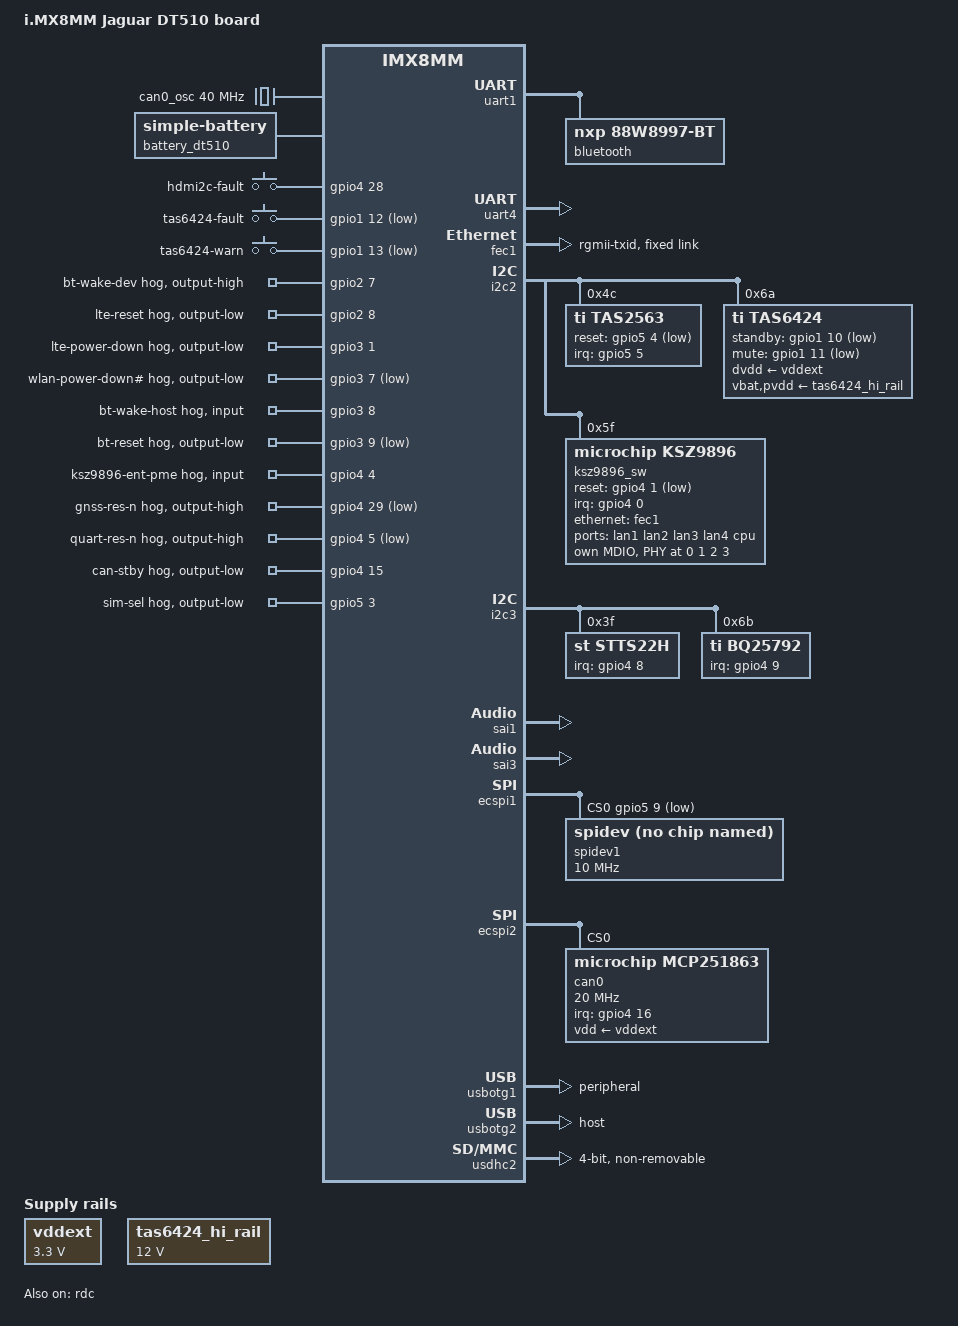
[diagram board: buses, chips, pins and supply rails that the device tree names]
// SPDX-License-Identifier: (GPL-2.0 OR MIT)
/*
 * Copyright 2020 NXP
 */
/*
 * i.MX8MM Jaguar DT510 — canonical device tree source (Tier A2).
 *
 * recipes-kernel/linux/linux-lmp-fslc-imx/imx8mm-jaguar-dt510.dts is a symlink to this file (Tier A1).
 *
 * Hardware SSOT: VIX DT510 pinout / hardware spec (Google Doc — revise on schematic proof).
 * Bring-up plan & tiers: docs/DT510-BSP-PROJECT-PLAN.md
 *
 * Board highlights (this file vs EVK):
 *   PMIC: inherited PCA9450 on &i2c1 @ 0x25 (imx8mm-evkb.dts).
 *   Cellular: USB OTG2 host; LTE_RST (GPIO2_IO8), LTE_OFF / power-down (GPIO3_IO1), SIM_SEL (GPIO5_IO3: low=nano, high=eSIM) via GPIO hogs + hoggrp mux.
 *   WLAN/BT: IW612-class SDIO on USDHC2 + UART1 Bluetooth sideband; WLAN/BT wake and reset lines hogged.
 *   Ethernet: i.MX FEC → Microchip KSZ9896 DSA (RGMII + I2C management on &i2c2 @ 0x5f); four LAN PHYs inside switch.
 *   Audio: TI TAS6424 (&sai1), TAS2563 (&sai3), TAC5301 analog (&sai6, I2C @0x50 — DTS ready; ASoC driver not in factory kernel yet).
 *            TAS6424 AMP_FAULT#/WARN# on gpio-keys (GPIO1_IO12/13).
 *   Power / sensing: TI BQ25792 charger + ST STTS22H temperature on &i2c3.
 *   Zigbee: ECSPI1 to 802.15.4 module (userspace spidev); ZB_INT / ZB_RST on dedicated pads.
 *   CAN: Microchip MCP251863 on &ecspi2 (UART4 uses different pads — no mux clash); CAN_INT# GPIO4_IO16, CAN_STBY GPIO4_IO15.
 *   GNSS: u-blox NEO-M9V — GNSS_RES# on GPIO4_IO29 (SAI3_RXC mux), active-low reset driven by SoC.
 *   USB UART: Silicon Labs CP2108 quad bridge — USB enumerates with cp210x; QUART_RES# on GPIO4_IO5 (SAI1_RXD3 mux).
 *   HDMI: Lontium LT9611 on &i2c3 @ 0x39 — HDMI_RES#/INT on GPIO2 (pads shared with former WL_WAKE/ZB_RST);
 *          HDMI2C1 fault on GPIO4_IO28 (SAI3_RXFS mux). Bridge node stays disabled until DSI graph + supplies.
 *   Low-power MCU: NXP MCXC144VFM — async serial on UART4 (UART4_RXD/UART4_TXD pads; DT macros UART4_DCE_RX/TX).
 *   Digital I/O: GPIO1_IO00/01/04–09 muxed as GPIO (DI1–4 / DO1–4); IO10–IO13 reserved for TAS6424 (see &tas6424).
 *   SE050 secure element: I2C4 @ 0x48 — handled by U-Boot / OpTEE, not described here.
 *
 * I2C numbering: Linux adapter i2c-N corresponds to DTS &i2c(N+1) on this SoC (e.g. i2c-1 = &i2c2).
 */

#include "freescale/imx8mm-evkb.dts"
#include <dt-bindings/gpio/gpio.h>
#include <dt-bindings/input/input.h>
#include <dt-bindings/interrupt-controller/irq.h>
#include <dt-bindings/clock/imx8mm-clock.h>

/ {
	model = "i.MX8MM Jaguar DT510 board";
	compatible = "fsl,imx8mm-jaguar-dt510", "fsl,imx8mm-evkb", "fsl,imx8mm-evk", "fsl,imx8mm";

	/*
	 * Drop EVK audio composites not wired on DT510 (PMIC/audio/path differs).
	 * NXP imx8mm-evk.dtsi: regulator-audio-board gates via &pca6416; sound-ak5558 / sound-ak4497
	 * reference AK codecs removed under &i2c3 — delete these too or DTC fails on dangling phandles.
	 */
	/delete-node/ sound-micfil;
	/delete-node/ sound-wm8524;
	/delete-node/ sound-ak4458;
	/delete-node/ sound-spdif;
	/delete-node/ sound-bt-sco;
	/delete-node/ regulator-audio-board;
	/delete-node/ sound-ak5558;
	/delete-node/ sound-ak4497;

	/*
	 * Fixed rails for on-board silicon:
	 *   vddext — 3V3 digital / codec DVDD where referenced.
	 *   tas6424_hi_rail — 12V class-D VBATT+PVDD net for TAS6424 (nominal; confirm vs BOM).
	 */
	vddext: regulator-vddext {
		compatible = "regulator-fixed";
		regulator-name = "VDDEXT_3V3";
		regulator-min-microvolt = <3300000>;
		regulator-max-microvolt = <3300000>;
	};

	/*
	 * TAS6424 VBAT/PVDD: driver needs separate supplies; one fixed rail for both here.
	 * 12 V nominal — confirm net names vs BOM. regulator-always-on matches HW (no SW sequencing).
	 */
	tas6424_hi_rail: regulator-tas6424-hi {
		compatible = "regulator-fixed";
		regulator-name = "TAS6424_VBAT_PVDD";
		regulator-min-microvolt = <12000000>;
		regulator-max-microvolt = <12000000>;
		regulator-always-on;
	};

	/*
	 * MCP251863/MCP2518FD crystal — match BOM Hz (typ. 40 MHz); binding requires clocks + spi-max-frequency ≤ clock/2.
	 */
	can0_osc: can0-osc {
		compatible = "fixed-clock";
		#clock-cells = <0>;
		clock-frequency = <40000000>;
	};

	/* Charger IC (BQ25792) battery chemistry model — tune vs actual pack (1S placeholder). */
	battery_dt510: battery-dt510 {
		compatible = "simple-battery";
		constant-charge-voltage-max-microvolt = <4200000>;
		constant-charge-current-max-microamp = <2000000>;
		charge-term-current-microamp = <160000>;
	};

	/*
	 * ALSA device naming:
	 *   tas6424-classd — speaker power stage (TAS6424 on &sai1).
	 *   tas2563-audio — TAS2563 smart amp path on &sai3 (Profile 8 TDM).
	 */
	sound-tas6424 {
		compatible = "simple-audio-card";
		simple-audio-card,name = "tas6424-classd";
		simple-audio-card,format = "i2s";
		simple-audio-card,frame-master = <&tas6424_cpu_dai>;
		simple-audio-card,bitclock-master = <&tas6424_cpu_dai>;
		simple-audio-card,widgets =
			"Speaker", "Speaker";
		simple-audio-card,routing =
			"Speaker", "OUT";

		tas6424_cpu_dai: simple-audio-card,cpu {
			sound-dai = <&sai1>;
		};

		simple-audio-card,codec {
			sound-dai = <&tas6424>;
			clocks = <&clk IMX8MM_CLK_SAI1_ROOT>;
		};
	};

	sound-tas2563 {
		compatible = "simple-audio-card";
		simple-audio-card,name = "tas2563-audio";
		simple-audio-card,format = "i2s";
		simple-audio-card,frame-master = <&cpudai2>;
		simple-audio-card,bitclock-master = <&cpudai2>;

		simple-audio-card,widgets =
			"Speaker", "Speaker";
		simple-audio-card,routing =
			"Speaker", "OUT";

		cpudai2: simple-audio-card,cpu {
			sound-dai = <&sai3>;
			dai-tdm-slot-num = <4>;  /* Profile 8 */
			dai-tdm-slot-width = <32>;
		};

		simple-audio-card,codec {
			sound-dai = <&tas2563>;
			clocks = <&clk IMX8MM_CLK_SAI3_ROOT>;
		};
	};

	/* RDC: UART4 PDAP must be domain 0 (A53) before UART probes (see fsl,rdc-config). */
	rdc: rdc@303d0000 {
		compatible = "fsl,imx8mm-rdc";
		reg = <0x0 0x303d0000 0x0 0x10000>;
		status = "okay";

		fsl,rdc-config = <
			0x44  0x3  /* UART4 PDAP → domain 0 (A53) */
		>;
	};

	/*
	 * HDMI2C1 bridge fault (input) — not the LT9611 I2C IRQ; pad muxed in pinctrl_hdmi.
	 */
	hdmi_misc_keys {
		compatible = "gpio-keys";
		status = "okay";

		hdmi2c_fault {
			label = "hdmi2c-fault";
			gpios = <&gpio4 28 GPIO_ACTIVE_HIGH>;
			linux,code = <KEY_VENDOR>;
		};
	};

	/*
	 * TAS6424 sideband status (pads muxed with pinctrl_tas6424_gpio — codec driver still polls I2C too).
	 * BTN_0 / BTN_1 — arbitrary distinct evtest codes; labels identify nets (AMP_FAULT#, AMP_WARN# active-low).
	 */
	tas6424_amp_keys {
		compatible = "gpio-keys";
		status = "okay";

		tas6424_fault {
			label = "tas6424-fault";
			gpios = <&gpio1 12 GPIO_ACTIVE_LOW>;
			linux,code = <BTN_0>;
		};

		tas6424_warn {
			label = "tas6424-warn";
			gpios = <&gpio1 13 GPIO_ACTIVE_LOW>;
			linux,code = <BTN_1>;
		};
	};

	/* CM4: disabled — avoid resource contention with A53. */
	imx8mm-cm4 {
		compatible = "fsl,imx8mm-cm4";
		status = "disabled";
	};
};

/*
 * Pinmux (&iomuxc)
 *
 * Order matches pinctrl-0: hog GPIOs + BQ25792 charger interrupt, then groups used by drivers.
 *   hoggrp — WLAN/BT/LTE strap lines; TAS2563 reset (CODEC_SD# on GPIO5).
 *   bq25792_chgr_int — CHGR_INT# from charger (muxed GPIO4).
 *   uart1 — UART1 + UART3 pins used as RTS/CTS for Bluetooth (IW8997 sideband).
 *   uart4 — MCXC144VFM MCU serial (RDC domain programmed for A53).
 *   usdhc2 — SDIO to WLAN module (4-bit).
 *   fec1 / ksz9896_sideband — RGMII to KSZ9896; SAI1 pins repurposed as switch PME/INTR/RST GPIOs.
 *   gpio1_dio — general-purpose DIO on GPIO1_IO00/01/04–09 (pad CFG per DT510 pin tool; IO02/03 N.C. on SKU).
 *   tas6424_gpio / sai1_tas6424 — TAS6424 enable/fault GPIOs + I2S to class-D.
 *   sai2 — Not wired for audio on DT510 (pads may overlap Zigbee); pinmux retained for reference.
 *   sai3 — TAS2563 I2S + codec interrupt on GPIO5.
 *   ecspi1 + zigbee — SPI to 802.15.4 module; ZB_INT on GPIO4_IO22 (ZB_RST was GPIO2_IO11 — pad now HDMI_RES#).
 *   ecspi2 + can_gpio — MCP251863 SPI (ECSPI2); SAI1_TXD3/4 → GPIO4_IO15/16 (CAN_STBY / CAN_INT#); &sai1 uses TXD0/1 only.
 *   tac5301 — SAI6 on SAI1_RXD4/RXD5/RXD6 + SAI1_TXD5 pads; SAI1_TXD2 → GPIO4_IO14 codec strap (SAI1 TXD0/1 still &tas6424).
 *   gnss_reset — NEO-M9V GNSS_RES# (GPIO output; pad not used by &sai3 audio mux below).
 *   hdmi — LT9611 HDMI_RES# / HDMI_INT / HDMI2C1 fault (GPIO2_IO11, GPIO2_IO6, GPIO4_IO28).
 *   quart_reset — CP2108 QUART_RES# (GPIO4_IO5, SAI1_RXD3 pad; not in &sai1 TAS6424 pinctrl).
 */
&iomuxc {
	pinctrl-names = "default";
	pinctrl-0 = <&pinctrl_hog>, <&pinctrl_bq25792_chgr_int>, <&pinctrl_gnss_reset>, <&pinctrl_hdmi>, <&pinctrl_quart_reset>, <&pinctrl_gpio1_dio>, <&pinctrl_ecspi2>, <&pinctrl_can_mcp2518_gpio>, <&pinctrl_sai6_tac5301>, <&pinctrl_tac5301_gpio>;

	/*
	 * Boot-time strap pins. GPIO2_IO6 / GPIO2_IO11 are reserved for HDMI (see pinctrl_hdmi); WL_WAKE host wake
	 * and SDIO wifi_wake_host nodes were removed — SDIO WLAN wake-from-sleep via that line is not available.
	 */
	pinctrl_hog: hoggrp {
		fsl,pins = <
			MX8MM_IOMUXC_SD1_DATA5_GPIO2_IO7	0x140  /* BT_WAKE_DEV */
			MX8MM_IOMUXC_SD1_DATA6_GPIO2_IO8	0x140  /* LTE_RST */
			MX8MM_IOMUXC_NAND_CE0_B_GPIO3_IO1	0x140  /* LTE_OFF / FUL_CARD_POWER_OFF# */
			MX8MM_IOMUXC_NAND_DATA01_GPIO3_IO7      0x140  /* WIFI_PD# */
			MX8MM_IOMUXC_NAND_DATA02_GPIO3_IO8	0x140  /* BT_WAKE_HOST */
			MX8MM_IOMUXC_NAND_DATA03_GPIO3_IO9      0x140  /* BT_RST# */
			MX8MM_IOMUXC_SPDIF_RX_GPIO5_IO4         0x140  /* CODEC_SD# (TAS2563 reset strap) */
			MX8MM_IOMUXC_SPDIF_TX_GPIO5_IO3         0x140  /* SIM_SEL: low=nano SIM, high=eSIM */
		>;
	};

	/* TI BQ25792 — CHGR_INT# (active-low alert from charger). */
	pinctrl_bq25792_chgr_int: bq25792_chgr_int_grp {
		fsl,pins = <
			MX8MM_IOMUXC_SAI1_RXD7_GPIO4_IO9	0x140  /* CHGR_INT# */
		>;
	};

	/*
	 * NEO-M9V GNSS — GNSS_RES# → GPIO4_IO29 (mux SAI3_RXC pad as GPIO).
	 * Hog below drives inactive (high) so module is out of reset; pulse low in userspace if needed.
	 */
	pinctrl_gnss_reset: gnssresetgrp {
		fsl,pins = <
			MX8MM_IOMUXC_SAI3_RXC_GPIO4_IO29	0x140
		>;
	};

	/*
	 * Lontium LT9611 + HDMI2C1 sideband (pads also referenced by lt9611@39 when enabled).
	 *   HDMI_RES# — GPIO2_IO11 (active-low reset out); HDMI_INT — GPIO2_IO6 (in, active-high);
	 *   HDMI2C1 fault — GPIO4_IO28 (SAI3_RXFS mux; not used by current &sai3 TAS2563 pin group).
	 */
	pinctrl_hdmi: hdmigrp {
		fsl,pins = <
			MX8MM_IOMUXC_SD1_STROBE_GPIO2_IO11	0x140
			MX8MM_IOMUXC_SD1_DATA4_GPIO2_IO6	0x140
			MX8MM_IOMUXC_SAI3_RXFS_GPIO4_IO28	0x140
		>;
	};

	/*
	 * CP2108 USB–quad-UART — QUART_RES# (active-low) on SAI1_RXD3 → GPIO4_IO5.
	 * Ports enumerate as /dev/ttyUSB* via usbserial once USB attaches (OTG host port).
	 */
	pinctrl_quart_reset: quartresetgrp {
		fsl,pins = <
			MX8MM_IOMUXC_SAI1_RXD3_GPIO4_IO5	0x140
		>;
	};

	/*
	 * General-purpose digital I/O — GPIO1_IO00/01/04–09 as GPIO (imx8mm-pinfunc.h uses …_GPIO1_IO0 …_GPIO1_IO9).
	 * Mapping vs connector: DI1–4 → IO00/01/04/05; DO1–4 → IO06–09. IO02/03 not bonded here; IO10–IO13 = &tas6424.
	 * Direction is runtime via gpiochip/libgpiod; pad configs match docs/reference/dt510-ollie-tool-generated/pin_mux.dts.
	 */
	pinctrl_gpio1_dio: gpio1diogrp {
		fsl,pins = <
			MX8MM_IOMUXC_GPIO1_IO00_GPIO1_IO0	0x114
			MX8MM_IOMUXC_GPIO1_IO01_GPIO1_IO1	0x116
			MX8MM_IOMUXC_GPIO1_IO04_GPIO1_IO4	0x116
			MX8MM_IOMUXC_GPIO1_IO05_GPIO1_IO5	0x156
			MX8MM_IOMUXC_GPIO1_IO06_GPIO1_IO6	0x116
			MX8MM_IOMUXC_GPIO1_IO07_GPIO1_IO7	0x1916
			MX8MM_IOMUXC_GPIO1_IO08_GPIO1_IO8	0x116
			MX8MM_IOMUXC_GPIO1_IO09_GPIO1_IO9	0x116
		>;
	};

	/* Bluetooth (NXP IW8997): UART1 data + UART3 pins as HCI RTS/CTS. */
	pinctrl_uart1: uart1grp {
		fsl,pins = <
			MX8MM_IOMUXC_UART1_RXD_UART1_DCE_RX     0x140
			MX8MM_IOMUXC_UART1_TXD_UART1_DCE_TX     0x140
			MX8MM_IOMUXC_UART3_TXD_UART1_DCE_RTS_B  0x140
			MX8MM_IOMUXC_UART3_RXD_UART1_DCE_CTS_B  0x140
		>;
	};

	/*
	 * UART4 — MCXC144VFM link (or lab UART): same RX/TX balls as UART4_RX/UART4_TX; NXP macros use DCE naming.
	 */
	pinctrl_uart4: uart4grp {
		fsl,pins = <
			MX8MM_IOMUXC_UART4_RXD_UART4_DCE_RX     0x140
			MX8MM_IOMUXC_UART4_TXD_UART4_DCE_TX     0x140
		>;
	};

	/* USDHC2 — Wi-Fi module SDIO (IW612 class / MAYA-W2 family). */
	pinctrl_usdhc2: usdhc2grp {
		fsl,pins = <
			MX8MM_IOMUXC_SD2_CLK_USDHC2_CLK         0x190
			MX8MM_IOMUXC_SD2_CMD_USDHC2_CMD         0x1d0
			MX8MM_IOMUXC_SD2_DATA0_USDHC2_DATA0     0x1d0
			MX8MM_IOMUXC_SD2_DATA1_USDHC2_DATA1     0x1d0
			MX8MM_IOMUXC_SD2_DATA2_USDHC2_DATA2     0x1d0
			MX8MM_IOMUXC_SD2_DATA3_USDHC2_DATA3     0x1d0
		>;
	};

	pinctrl_usdhc2_100mhz: usdhc2-100mhzgrp {
		fsl,pins = <
			MX8MM_IOMUXC_SD2_CLK_USDHC2_CLK         0x194
			MX8MM_IOMUXC_SD2_CMD_USDHC2_CMD         0x1d4
			MX8MM_IOMUXC_SD2_DATA0_USDHC2_DATA0     0x1d4
			MX8MM_IOMUXC_SD2_DATA1_USDHC2_DATA1     0x1d4
			MX8MM_IOMUXC_SD2_DATA2_USDHC2_DATA2     0x1d4
			MX8MM_IOMUXC_SD2_DATA3_USDHC2_DATA3     0x1d4
		>;
	};

	pinctrl_usdhc2_200mhz: usdhc2-200mhzgrp {
		fsl,pins = <
			MX8MM_IOMUXC_SD2_CLK_USDHC2_CLK         0x196
			MX8MM_IOMUXC_SD2_CMD_USDHC2_CMD         0x1d6
			MX8MM_IOMUXC_SD2_DATA0_USDHC2_DATA0     0x1d6
			MX8MM_IOMUXC_SD2_DATA1_USDHC2_DATA1     0x1d6
			MX8MM_IOMUXC_SD2_DATA2_USDHC2_DATA2     0x1d6
			MX8MM_IOMUXC_SD2_DATA3_USDHC2_DATA3     0x1d6
		>;
	};

	/* ENET1 — RGMII from SoC to KSZ9896 CPU port. */
	pinctrl_fec1_dt510: fec1dt510grp {
		fsl,pins = <
			MX8MM_IOMUXC_ENET_MDC_ENET1_MDC			0x116
			MX8MM_IOMUXC_ENET_MDIO_ENET1_MDIO		0x116
			MX8MM_IOMUXC_ENET_RD0_ENET1_RGMII_RD0		0x116
			MX8MM_IOMUXC_ENET_RD1_ENET1_RGMII_RD1		0x116
			MX8MM_IOMUXC_ENET_RD2_ENET1_RGMII_RD2		0x116
			MX8MM_IOMUXC_ENET_RD3_ENET1_RGMII_RD3		0x116
			MX8MM_IOMUXC_ENET_RXC_ENET1_RGMII_RXC		0x116
			MX8MM_IOMUXC_ENET_RX_CTL_ENET1_RGMII_RX_CTL	0x116
			MX8MM_IOMUXC_ENET_TD0_ENET1_RGMII_TD0		0x116
			MX8MM_IOMUXC_ENET_TD1_ENET1_RGMII_TD1		0x116
			MX8MM_IOMUXC_ENET_TD2_ENET1_RGMII_TD2		0x116
			MX8MM_IOMUXC_ENET_TD3_ENET1_RGMII_TD3		0x116
			MX8MM_IOMUXC_ENET_TXC_ENET1_RGMII_TXC		0x116
			MX8MM_IOMUXC_ENET_TX_CTL_ENET1_RGMII_TX_CTL	0x1916
		>;
	};

	/* KSZ9896 — INT#, RST#, PME# when muxed on SAI1 pads (see gpio4 / switch node). */
	pinctrl_ksz9896_sideband: ksz9896sidebandgrp {
		fsl,pins = <
			MX8MM_IOMUXC_SAI1_RXFS_GPIO4_IO0	0x116
			MX8MM_IOMUXC_SAI1_RXC_GPIO4_IO1	0x116
			MX8MM_IOMUXC_SAI1_RXD2_GPIO4_IO4	0x116
		>;
	};

	/* TAS6424 — AMP_STBY#, AMP_MUTE#, FAULT, WARN (GPIO1 sideband). */
	pinctrl_tas6424_gpio: tas6424gpiogrp {
		fsl,pins = <
			MX8MM_IOMUXC_GPIO1_IO10_GPIO1_IO10	0x116
			MX8MM_IOMUXC_GPIO1_IO11_GPIO1_IO11	0x116
			MX8MM_IOMUXC_GPIO1_IO12_GPIO1_IO12	0x116
			MX8MM_IOMUXC_GPIO1_IO13_GPIO1_IO13	0x116
		>;
	};

	/* TAS6424 — I2S master from SoC (SAI1). */
	pinctrl_sai1_tas6424: sai1tas6424grp {
		fsl,pins = <
			MX8MM_IOMUXC_SAI1_MCLK_SAI1_MCLK		0x116
			MX8MM_IOMUXC_SAI1_TXFS_SAI1_TX_SYNC		0x1916
			MX8MM_IOMUXC_SAI1_TXC_SAI1_TX_BCLK		0x116
			MX8MM_IOMUXC_SAI1_TXD0_SAI1_TX_DATA0	0x116
			MX8MM_IOMUXC_SAI1_TXD1_SAI1_TX_DATA1	0x116
		>;
	};

	/* Not used by &sai2 on DT510; kept for alignment with EVK-style SAI2 pin bundle if enabled later. */
	pinctrl_sai2: sai2grp {
		fsl,pins = <
			MX8MM_IOMUXC_SAI2_MCLK_SAI2_MCLK        0xd6
			MX8MM_IOMUXC_SAI2_TXFS_SAI2_TX_SYNC     0xd6
			MX8MM_IOMUXC_SAI2_TXC_SAI2_TX_BCLK      0xd6
			MX8MM_IOMUXC_SAI2_TXD0_SAI2_TX_DATA0    0xd6
			MX8MM_IOMUXC_SAI2_RXD0_SAI2_RX_DATA0    0xd6
		>;
	};

	/* TAS2563 — I2S + GPIO5 interrupt; SPDIF_EXT_CLK pad used as codec IRQ line. */
	pinctrl_sai3: sai3grp {
		fsl,pins = <
			MX8MM_IOMUXC_SAI3_TXFS_SAI3_TX_SYNC     0xd6
			MX8MM_IOMUXC_SAI3_TXC_SAI3_TX_BCLK      0xd6
			MX8MM_IOMUXC_SAI3_MCLK_SAI3_MCLK        0xd6
			MX8MM_IOMUXC_SAI3_TXD_SAI3_TX_DATA0     0xd6
			MX8MM_IOMUXC_SAI3_RXD_SAI3_RX_DATA0     0xd6
			MX8MM_IOMUXC_SPDIF_EXT_CLK_GPIO5_IO5    0xd6
		>;
	};

	/* ECSPI1 — SPI clock/data to Zigbee module; CS on GPIO5_IO9. */
	pinctrl_ecspi1: ecspi1grp {
		fsl,pins = <
			MX8MM_IOMUXC_ECSPI1_SS0_GPIO5_IO9	0x140
			MX8MM_IOMUXC_ECSPI1_SCLK_ECSPI1_SCLK	0x140
			MX8MM_IOMUXC_ECSPI1_MISO_ECSPI1_MISO	0x140
			MX8MM_IOMUXC_ECSPI1_MOSI_ECSPI1_MOSI	0x140
		>;
	};

	/* Zigbee — ZB_INT on GPIO4_IO22 only (GPIO2_IO11 remapped to HDMI_RES#). */
	pinctrl_zigbee: zigbeegrp {
		fsl,pins = <
			MX8MM_IOMUXC_SAI2_RXC_GPIO4_IO22        0x140
		>;
	};

	/* ECSPI2 — Microchip MCP251863 CAN controller (chip select SS0). */
	pinctrl_ecspi2: ecspi2grp {
		fsl,pins = <
			MX8MM_IOMUXC_ECSPI2_SCLK_ECSPI2_SCLK	0x140
			MX8MM_IOMUXC_ECSPI2_MISO_ECSPI2_MISO	0x140
			MX8MM_IOMUXC_ECSPI2_MOSI_ECSPI2_MOSI	0x140
			MX8MM_IOMUXC_ECSPI2_SS0_ECSPI2_SS0	0x140
		>;
	};

	/*
	 * MCP251863 sideband — CAN_STBY (active-high strap per HW doc), CAN_INT# (active-low, push/pull input).
	 * &sai1 audio mux uses TXD0/TXD1 only; TXD3/TXD4 pads → GPIO4_IO15/IO16.
	 */
	pinctrl_can_mcp2518_gpio: canmcp2518gpiogrp {
		fsl,pins = <
			MX8MM_IOMUXC_SAI1_TXD3_GPIO4_IO15	0x140
			MX8MM_IOMUXC_SAI1_TXD4_GPIO4_IO16	0x140
		>;
	};

	/*
	 * TI TAC5301-Q1 — I2S on &sai6 (pads shared naming on SAI1_* muxOptions → SAI6).
	 * No separate MCLK pad in SSOT pin list here — confirm vs BOM / driver when enabling.
	 */
	pinctrl_sai6_tac5301: sai6_tac5301_grp {
		fsl,pins = <
			MX8MM_IOMUXC_SAI1_RXD6_SAI6_TX_SYNC		0xd6
			MX8MM_IOMUXC_SAI1_RXD4_SAI6_TX_BCLK		0xd6
			MX8MM_IOMUXC_SAI1_RXD5_SAI6_TX_DATA0		0xd6
			MX8MM_IOMUXC_SAI1_TXD5_SAI6_RX_DATA0		0xd6
		>;
	};

	/* TAC5301 — configurable GPIO strap (CODEC_CTL / reset / IRQ per schematic); verify polarity vs TI tac5x1x binding. */
	pinctrl_tac5301_gpio: tac5301_gpiogrp {
		fsl,pins = <
			MX8MM_IOMUXC_SAI1_TXD2_GPIO4_IO14		0xd6
		>;
	};
};

/*
 * UART
 *   uart1 — Bluetooth HCI (88x8997 family); firmware loads over this link at init baud below.
 *   uart3 — disabled at bottom of file (unused on this SKU).
 *   uart4 — MCXC144VFM low-power MCU (RX/TX only); &rdc pins UART4 PDAP to A53 before probe (see &rdc node).
 */
&uart1 {
	pinctrl-names = "default";
	pinctrl-0 = <&pinctrl_uart1>;
	assigned-clocks = <&clk IMX8MM_CLK_UART1>;
	assigned-clock-parents = <&clk IMX8MM_SYS_PLL1_80M>;
	fsl,uart-has-rtscts;
	status = "okay";

	/* Bluetooth HCI controller — MAC/PHY firmware negotiates rate after boot (see compatible). */
	bluetooth {
		compatible = "nxp,88w8997-bt";
		fw-init-baudrate = <3000000>;
	};
};

&uart4 {
	pinctrl-names = "default";
	pinctrl-0 = <&pinctrl_uart4>;
	/* RDC: UART4 PDAP domain must be set in U-Boot before Linux probes this UART. */
	status = "okay";
	fsl,rdc-domain = <0>;
};

/*
 * GPIO hogs — lines that must stay at defined levels for WLAN/BT/LTE/switch wake; not runtime GPIO API.
 *   gpio2 — BT_WAKE_DEV (IO7), LTE_RST (IO8); GPIO2_IO6/IO11 = HDMI LT9611 mux — no WL_WAKE hog.
 *   gpio3 — LTE_OFF / full-card power off (IO1), WLAN PD, BT wake host + reset.
 *   gpio4 — KSZ9896 PME, GNSS_RES#, CP2108 QUART_RES#, MCP251863 CAN_STBY hog, CAN_INT# (IRQ — not hogged); TAC5301 strap GPIO4_IO14 (when codec enabled); HDMI fault; fec/switch sideband.
 *   gpio5 — SIM_SEL (IO3): output-low at boot selects nano SIM per RF shield/BOM (drive high for eSIM).
 */
&gpio2 {
	bt-wake-dev-hog {
		gpio-hog;
		gpios = <7 GPIO_ACTIVE_HIGH>;
		output-high;
		line-name = "bt-wake-dev";
	};

	/*
	 * LTE_RST — spreadsheet Active-High output from SoC; boot default released (modem out of reset).
	 * Remove gpio-hog if userspace must pulse reset during firmware upgrade.
	 */
	lte-reset-hog {
		gpio-hog;
		gpios = <8 GPIO_ACTIVE_HIGH>;
		output-low;
		line-name = "lte-reset";
	};
};

&gpio3 {
	lte-power-down-hog {
		gpio-hog;
		gpios = <1 GPIO_ACTIVE_HIGH>;
		output-low;
		line-name = "lte-power-down";
	};

	wlan-power-down-hog {
		gpio-hog;
		gpios = <7 GPIO_ACTIVE_LOW>;
		output-low;
		line-name = "wlan-power-down#";
	};
	bt-wake-host-hog {
		gpio-hog;
		gpios = <8 GPIO_ACTIVE_HIGH>;
		input;
		line-name = "bt-wake-host";
	};
	bt-reset-hog {
		gpio-hog;
		gpios = <9 GPIO_ACTIVE_LOW>;
		output-low;
		line-name = "bt-reset";
	};
};

&gpio4 {
	/* Sideband pads muxed with &fec1 / pinctrl_ksz9896_sideband — do not add gpio4 pinctrl-0 here. */
	status = "okay";

	ksz9896_pme {
		gpio-hog;
		gpios = <4 GPIO_ACTIVE_HIGH>;
		input;
		line-name = "ksz9896-ent-pme";
	};

	/*
	 * NEO-M9V GNSS_RES# — active-low reset from SoC; released high at boot.
	 * sysfs line name: gnss-res-n (GPIO4_IO29). Toggle via /sys/class/gpio or libgpiod if hog removed later.
	 */
	gnss-res-n-hog {
		gpio-hog;
		gpios = <29 GPIO_ACTIVE_LOW>;
		output-high;
		line-name = "gnss-res-n";
	};

	/* CP2108 — QUART_RES# released high at boot (active-low reset). */
	quart-res-n-hog {
		gpio-hog;
		gpios = <5 GPIO_ACTIVE_LOW>;
		output-high;
		line-name = "quart-res-n";
	};

	/*
	 * CAN transceiver standby (GPIO4_IO15) — HW labels CAN_STBY Active-High: high = standby asserted on many parts.
	 * Default output-low — typical “run” if standby is high-active; delete hog if userspace/socketcan must toggle.
	 */
	can-stby-hog {
		gpio-hog;
		gpios = <15 GPIO_ACTIVE_HIGH>;
		output-low;
		line-name = "can-stby";
	};
};

&gpio5 {
	sim-sel-hog {
		gpio-hog;
		gpios = <3 GPIO_ACTIVE_HIGH>;
		output-low;
		line-name = "sim-sel";
	};
};

/*
 * Ethernet
 *   FEC — i.MX Gigabit MAC to KSZ9896 “CPU” port over RGMII (no external PHY on FEC).
 *   Switch management — I2C on &i2c2 @ 0x5f; internal PHYs on switch MDIO (lan1–lan4).
 *   Details: docs/DT510-ETHERNET-KSZ9896.md
 */
&fec1 {
	pinctrl-names = "default";
	pinctrl-0 = <&pinctrl_fec1_dt510 &pinctrl_ksz9896_sideband>;
	phy-mode = "rgmii-txid";
	status = "okay";
	/delete-property/ phy-handle;
	/delete-property/ fsl,magic-packet;

	fixed-link {
		speed = <1000>;
		full-duplex;
		pause;
	};
};

/*
 * I2C peripherals (see also file banner for Linux i2c-N vs &i2cN)
 *
 * &i2c2 (Linux i2c-1): audio ICs + KSZ9896 switch management.
 * &i2c3 (Linux i2c-2): environmental sensor + battery charger + LT9611 HDMI bridge (pins in pinctrl_hdmi).
 * PMIC &i2c1 stays in imx8mm-evkb.dts (PCA9450).
 */
&i2c2 {
	/* EVK USB-C PD controller not populated — TCPC node removed (freed 0x50). */
	/delete-node/ tcpc@50;

	/* TI TAS2563 — smart amp / speaker driver (control + diagnostics on I2C, audio on &sai3). */
	tas2563: tas2563@4c {
		#sound-dai-cells = <0>;
		compatible = "ti,tas2563";
		reg = <0x4c>;
		ti,channels = <1>;
		reset-gpios = <&gpio5 4 GPIO_ACTIVE_LOW>;
		interrupt-parent = <&gpio5>;
		interrupts = <5 IRQ_TYPE_LEVEL_LOW>;

		ti,asi-format = <0>;
		ti,left-slot = <0>;
		ti,right-slot = <1>;

		status = "okay";
	};

	/* TI TAS6424 — four-channel class-D output (I2S on &sai1). */
	tas6424: tas6424@6a {
		compatible = "ti,tas6424";
		reg = <0x6a>;
		#sound-dai-cells = <0>;
		pinctrl-names = "default";
		pinctrl-0 = <&pinctrl_tas6424_gpio>;
		dvdd-supply = <&vddext>;
		vbat-supply = <&tas6424_hi_rail>;
		pvdd-supply = <&tas6424_hi_rail>;
		standby-gpios = <&gpio1 10 GPIO_ACTIVE_LOW>;
		mute-gpios = <&gpio1 11 GPIO_ACTIVE_LOW>;
		status = "okay";
	};

	/* Microchip KSZ9896 — 4-port gigabit switch + RGMII CPU port; strap sets this I2C address. */
	ksz9896_sw: switch@5f {
		compatible = "microchip,ksz9896";
		reg = <0x5f>;
		reset-gpios = <&gpio4 1 GPIO_ACTIVE_LOW>;
		interrupt-parent = <&gpio4>;
		interrupts = <0 IRQ_TYPE_LEVEL_LOW>;

		ethernet-ports {
			#address-cells = <1>;
			#size-cells = <0>;

			port@0 {
				reg = <0>;
				label = "lan1";
				phy-handle = <&swphy0>;
			};

			port@1 {
				reg = <1>;
				label = "lan2";
				phy-handle = <&swphy1>;
			};

			port@2 {
				reg = <2>;
				label = "lan3";
				phy-handle = <&swphy2>;
			};

			port@3 {
				reg = <3>;
				label = "lan4";
				phy-handle = <&swphy3>;
			};

			port@5 {
				reg = <5>;
				label = "cpu";
				ethernet = <&fec1>;
				phy-mode = "rgmii-txid";
				tx-internal-delay-ps = <2000>;

				fixed-link {
					speed = <1000>;
					full-duplex;
					pause;
				};
			};
		};

		mdio {
			#address-cells = <1>;
			#size-cells = <0>;

			swphy0: ethernet-phy@0 {
				reg = <0>;
				eee-broken-100tx;
				eee-broken-1000t;
			};

			swphy1: ethernet-phy@1 {
				reg = <1>;
				eee-broken-100tx;
				eee-broken-1000t;
			};

			swphy2: ethernet-phy@2 {
				reg = <2>;
				eee-broken-100tx;
				eee-broken-1000t;
			};

			swphy3: ethernet-phy@3 {
				reg = <3>;
				eee-broken-100tx;
				eee-broken-1000t;
			};
		};
	};

	/*
	 * TI TAC5301-Q1 — analog audio codec on &sai6.
	 * Kernel: upstream ti,tac5x1x ASoC driver (e.g. Linux 6.10+) — not in current linux-lmp-fslc-imx line; leave disabled until driver lands.
	 * Revise reset-gpios / supplies vs datasheet + tac5x1x YAML when enabling.
	 */
	tac5301: tac5301@50 {
		compatible = "ti,tac5301";
		reg = <0x50>;
		#sound-dai-cells = <0>;
		pinctrl-names = "default";
		pinctrl-0 = <&pinctrl_tac5301_gpio>;
		reset-gpios = <&gpio4 14 GPIO_ACTIVE_LOW>;
		avdd-supply = <&vddext>;
		iovdd-supply = <&vddext>;
		status = "disabled";
	};
};

&i2c3 {
	/* Strip EVK audio/camera/gpio-expander children not fitted on DT510. */
	/delete-node/ ak4458@10;
	/delete-node/ ak4458@12;
	/delete-node/ ak5558@13;
	/delete-node/ ak4497@11;
	/delete-node/ camera@3c;
	/delete-node/ gpio@20;

	/* ST STTS22H — low-power temperature sensor (alert on GPIO4). */
	stts22h: stts22h@3f {
		compatible = "st,stts22h";
		reg = <0x3f>;
		status = "okay";
		interrupt-parent = <&gpio4>;
		interrupts = <8 IRQ_TYPE_LEVEL_HIGH>;
	};

	/* TI BQ25792 — battery charger; CHGR_INT# on GPIO4_IO9 (see pinctrl_bq25792_chgr_int). */
	bq25792: bq25792@6b {
		compatible = "ti,bq25792";
		reg = <0x6b>;
		monitored-battery = <&battery_dt510>;
		interrupt-parent = <&gpio4>;
		interrupts = <9 IRQ_TYPE_LEVEL_LOW>;
		status = "okay";
	};

	/*
	 * Lontium LT9611 — DSI→HDMI bridge. Requires regulators + DSI/MIPI graph per binding before status okay.
	 * Pins: reset GPIO2_IO11 (HDMI_RES#), IRQ GPIO2_IO6 (HDMI_INT to chip — active-high input from LT9611).
	 */
	lt9611: lt9611@39 {
		compatible = "lontium,lt9611";
		reg = <0x39>;
		status = "disabled";
		reset-gpios = <&gpio2 11 GPIO_ACTIVE_LOW>;
		interrupt-parent = <&gpio2>;
		interrupts = <6 IRQ_TYPE_LEVEL_HIGH>;
		vdd-supply = <&vddext>;
		vcc-supply = <&vddext>;
	};
};

/*
 * SAI — serial audio interfaces to codec silicon
 *   sai1 — I2S/DSP to TAS6424 (playback path).
 *   sai3 — I2S/TDM to TAS2563 (Profile 8 echo reference / smart amp data).
 */
&sai1 {
	pinctrl-names = "default";
	pinctrl-0 = <&pinctrl_sai1_tas6424>;
	assigned-clocks = <&clk IMX8MM_CLK_SAI1_ROOT>;
	assigned-clock-parents = <&clk IMX8MM_AUDIO_PLL1_OUT>;
	assigned-clock-rates = <12288000>;
	fsl,sai-mclk-direction-output;
	#sound-dai-cells = <0>;
	status = "okay";
};

&sai3 {
	pinctrl-names = "default";
	pinctrl-0 = <&pinctrl_sai3>;
	assigned-clocks = <&clk IMX8MM_CLK_SAI3>;
	assigned-clock-parents = <&clk IMX8MM_AUDIO_PLL1_OUT>;
	assigned-clock-rates = <12288000>;
	fsl,sai-mclk-direction-output;
	fsl,sai-synchronous-rx;
	#sound-dai-cells = <0>;
	status = "okay";
};

/*
 * Disabled — unused SKU options, EVK leftovers, or controller blocks pending driver / bring-up.
 *   uart3 — not fitted / unused on this product.
 *   sai6 — TAC5301 path (see tac5301@50); enable with ti,tac5x1x ASoC when kernel supports it.
 *   ir_recv — EVK GPIO1_IR conflicts with TAS6424 GPIO usage.
 *   reg_pcie0 / pcie0 — mini-PCIe power path not used (no M.2/NVMe on this SKU).
 *   backlight — no EVK-style LCD panel on DT510.
 *   mipi_dsi — display stack disabled until product HDMI/display bring-up.
 *   spdif1 — SPDIF not wired out for DT510 audio plan.
 */
&uart3 {
	status = "disabled";
};

&sai6 {
	pinctrl-names = "default";
	pinctrl-0 = <&pinctrl_sai6_tac5301>;
	assigned-clocks = <&clk IMX8MM_CLK_SAI6_ROOT>;
	assigned-clock-parents = <&clk IMX8MM_AUDIO_PLL1_OUT>;
	assigned-clock-rates = <12288000>;
	fsl,sai-mclk-direction-output;
	fsl,sai-synchronous-rx;
	#sound-dai-cells = <0>;
	status = "disabled";
};

&ir_recv {
	status = "disabled";
};

&reg_pcie0 {
	status = "disabled";
};

&backlight {
	status = "disabled";
};

&mipi_dsi {
	status = "disabled";
};

&spdif1 {
	status = "disabled";
};

&pcie0 {
	status = "disabled";
};

/*
 * ECSPI — Zigbee / 802.15.4 radio module
 *   Hardware SPI to RF IC; userspace opens spidev for Silicon Labs ZBOSS / spinel stacks.
 *   DMA disabled so transfers stay predictable for timing-sensitive firmware reloads.
 */
&ecspi1 {
	#address-cells = <1>;
	#size-cells = <0>;
	pinctrl-names = "default";
	pinctrl-0 = <&pinctrl_ecspi1>, <&pinctrl_zigbee>;
	cs-gpios = <&gpio5 9 GPIO_ACTIVE_LOW>;
	fsl,spi-num-chipselects = <1>;
	/delete-property/ dmas;
	/delete-property/ dma-names;
	fsl,spi-rdy-drctl = <0>;
	status = "okay";

	/* Generic spidev — Linux userspace talks Zigbee/NCP protocol (not a DT-bound radio driver). */
	spidev1: spi@0 {
		compatible = "rohm,dh2228fv";
		spi-max-frequency = <10000000>;
		spi-mode = <0>;
		reg = <0>;
	};
};

/*
 * ECSPI2 — Microchip MCP251863 CAN-FD controller (SPI). ECSPI2 pads are distinct from UART4 RX/TX balls on i.MX8MM.
 */
&ecspi2 {
	#address-cells = <1>;
	#size-cells = <0>;
	pinctrl-names = "default";
	pinctrl-0 = <&pinctrl_ecspi2>;
	fsl,spi-num-chipselects = <1>;
	/delete-property/ dmas;
	/delete-property/ dma-names;
	status = "okay";

	can0: can@0 {
		compatible = "microchip,mcp251863", "microchip,mcp2518fd";
		reg = <0>;
		clocks = <&can0_osc>;
		spi-max-frequency = <20000000>;
		interrupt-parent = <&gpio4>;
		interrupts = <16 IRQ_TYPE_LEVEL_LOW>;
		vdd-supply = <&vddext>;
	};
};

/*
 * USB controllers
 *   usbotg1 — device-only: USB gadget (lab dual-UAC2, etc.); no TCPC so no role-switch.
 *   usbotg2 — host port for LTE/cellular modem mass-storage/diagnostic interfaces.
 */
&usbotg1 {
	dr_mode = "peripheral";
	status = "okay";
	/delete-property/ usb-role-switch;
	/delete-node/ port;
};

&usbotg2 {
	dr_mode = "host";
	status = "okay";
};

/*
 * USDHC2 — SDIO interface to WLAN module (NXP IW612 / ublox MAYA-W2 class).
 *   wifi_wake_host removed — GPIO2_IO6 muxed as HDMI_INT for LT9611 (see pinctrl_hdmi).
 */
&usdhc2 {
	pinctrl-names = "default", "state_100mhz", "state_200mhz";
	pinctrl-0 = <&pinctrl_usdhc2>;
	pinctrl-1 = <&pinctrl_usdhc2_100mhz>;
	pinctrl-2 = <&pinctrl_usdhc2_200mhz>;
	bus-width = <4>;
	keep-power-in-suspend;
	non-removable;
	wakeup-source;
	max-frequency = <100000000>;
	fsl,sdio-async-interrupt-enabled;
	pm-ignore-notify;
	cap-power-off-card;
	status = "okay";
};
